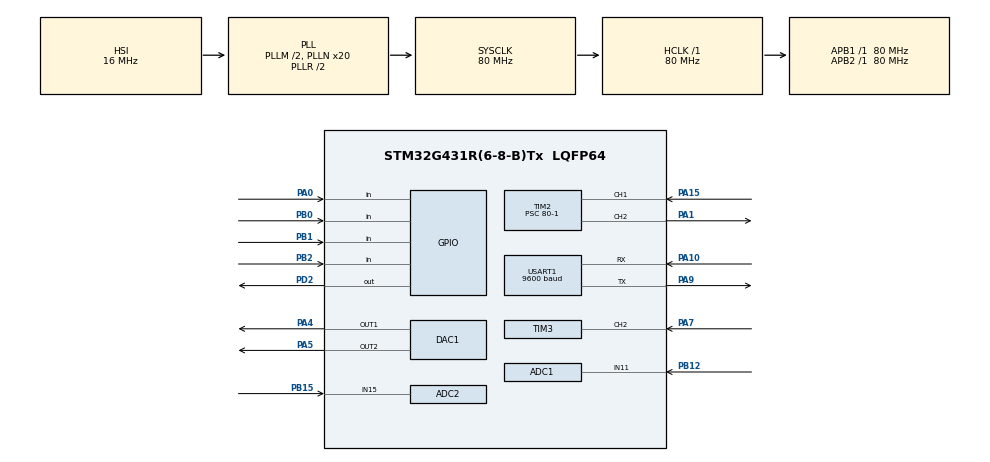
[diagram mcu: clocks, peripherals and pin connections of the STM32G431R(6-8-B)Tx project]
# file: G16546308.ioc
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ADC1.Channel-0\#ChannelRegularConversion=ADC_CHANNEL_11
ADC1.NbrOfConversionFlag=1
ADC1.OffsetNumber-0\#ChannelRegularConversion=ADC_OFFSET_NONE
ADC1.Rank-0\#ChannelRegularConversion=1
ADC1.SamplingTime-0\#ChannelRegularConversion=ADC_SAMPLETIME_2CYCLES_5
ADC1.master=1
ADC2.Channel-0\#ChannelRegularConversion=ADC_CHANNEL_15
ADC2.NbrOfConversionFlag=1
ADC2.OffsetNumber-0\#ChannelRegularConversion=ADC_OFFSET_NONE
ADC2.Rank-0\#ChannelRegularConversion=1
ADC2.SamplingTime-0\#ChannelRegularConversion=ADC_SAMPLETIME_2CYCLES_5
DAC1.DAC_Channel-DAC_OUT2=DAC_CHANNEL_2
Dma.Request0=USART1_RX
Dma.Request1=USART1_TX
Dma.USART1_RX.0.Direction=DMA_PERIPH_TO_MEMORY
Dma.USART1_RX.0.EventEnable=DISABLE
Dma.USART1_RX.0.Instance=DMA1_Channel1
Dma.USART1_RX.0.MemDataAlignment=DMA_MDATAALIGN_BYTE
Dma.USART1_RX.0.MemInc=DMA_MINC_ENABLE
Dma.USART1_RX.0.Mode=DMA_NORMAL
Dma.USART1_RX.0.PeriphDataAlignment=DMA_PDATAALIGN_BYTE
Dma.USART1_RX.0.PeriphInc=DMA_PINC_DISABLE
Dma.USART1_RX.0.Polarity=HAL_DMAMUX_REQ_GEN_RISING
Dma.USART1_RX.0.Priority=DMA_PRIORITY_LOW
Dma.USART1_RX.0.RequestNumber=1
Dma.USART1_RX.0.SignalID=NONE
Dma.USART1_RX.0.SyncEnable=DISABLE
Dma.USART1_RX.0.SyncPolarity=HAL_DMAMUX_SYNC_NO_EVENT
Dma.USART1_RX.0.SyncRequestNumber=1
Dma.USART1_RX.0.SyncSignalID=NONE
Dma.USART1_TX.1.Direction=DMA_MEMORY_TO_PERIPH
Dma.USART1_TX.1.EventEnable=DISABLE
Dma.USART1_TX.1.Instance=DMA1_Channel2
Dma.USART1_TX.1.MemDataAlignment=DMA_MDATAALIGN_BYTE
Dma.USART1_TX.1.MemInc=DMA_MINC_ENABLE
Dma.USART1_TX.1.Mode=DMA_NORMAL
Dma.USART1_TX.1.PeriphDataAlignment=DMA_PDATAALIGN_BYTE
Dma.USART1_TX.1.PeriphInc=DMA_PINC_DISABLE
Dma.USART1_TX.1.Polarity=HAL_DMAMUX_REQ_GEN_RISING
Dma.USART1_TX.1.Priority=DMA_PRIORITY_LOW
Dma.USART1_TX.1.RequestNumber=1
Dma.USART1_TX.1.SignalID=NONE
Dma.USART1_TX.1.SyncEnable=DISABLE
Dma.USART1_TX.1.SyncPolarity=HAL_DMAMUX_SYNC_NO_EVENT
Dma.USART1_TX.1.SyncRequestNumber=1
Dma.USART1_TX.1.SyncSignalID=NONE
Mcu.Family=STM32G4
Mcu.Name=STM32G431R(6-8-B)Tx
Mcu.Package=LQFP64
NVIC.DMA1_Channel1_IRQn=true\:14\:0\:true\:false\:true\:false\:true\:true
NVIC.DMA1_Channel2_IRQn=true\:14\:0\:true\:false\:true\:false\:true\:true
NVIC.PriorityGroup=NVIC_PRIORITYGROUP_4
NVIC.TIM1_UP_TIM16_IRQn=true\:13\:0\:true\:false\:true\:true\:true\:true
NVIC.TIM2_IRQn=true\:0\:0\:false\:false\:true\:true\:true\:true
NVIC.TIM3_IRQn=true\:0\:0\:false\:false\:true\:true\:true\:true
NVIC.USART1_IRQn=true\:1\:0\:true\:false\:true\:true\:true\:true
PA0.Signal=GPIO_Input
PA1.Signal=S_TIM2_CH2
PA10.Mode=Asynchronous
PA10.Signal=USART1_RX
PA13.Mode=Serial_Wire
PA13.Signal=SYS_JTMS-SWDIO
PA14.Mode=Serial_Wire
PA14.Signal=SYS_JTCK-SWCLK
PA15.Signal=S_TIM2_CH1
PA4.Signal=COMP_DAC11_group
PA5.Signal=COMP_DAC12_group
PA7.Signal=S_TIM3_CH2
PA9.Mode=Asynchronous
PA9.Signal=USART1_TX
PB0.Signal=GPIO_Input
PB1.Signal=GPIO_Input
PB12.Mode=IN11-Single-Ended
PB12.Signal=ADC1_IN11
PB15.Mode=IN15-Single-Ended
PB15.Signal=ADC2_IN15
PB2.Signal=GPIO_Input
PB4.Signal=S_TIM3_CH1
PD2.Signal=GPIO_Output
PF0-OSC_IN.Mode=HSE-External-Oscillator
PF0-OSC_IN.Signal=RCC_OSC_IN
PF1-OSC_OUT.Mode=HSE-External-Oscillator
PF1-OSC_OUT.Signal=RCC_OSC_OUT
ProjectManager.HeapSize=0x200
ProjectManager.StackSize=0x400
ProjectManager.TargetToolchain=MDK-ARM V5.32
RCC.ADC12Freq_Value=80000000
RCC.AHBFreq_Value=80000000
RCC.APB1Freq_Value=80000000
RCC.APB1TimFreq_Value=80000000
RCC.APB2Freq_Value=80000000
RCC.APB2TimFreq_Value=80000000
RCC.CortexFreq_Value=80000000
RCC.EXTERNAL_CLOCK_VALUE=12288000
RCC.HCLKFreq_Value=80000000
RCC.HSE_VALUE=24000000
RCC.HSI48_VALUE=48000000
RCC.HSI_VALUE=16000000
RCC.LSE_VALUE=32768
RCC.PLLM=RCC_PLLM_DIV2
RCC.PLLN=20
RCC.SYSCLKFreq_VALUE=80000000
RCC.SYSCLKSource=RCC_SYSCLKSOURCE_PLLCLK
RCC.USBFreq_Value=80000000
RCC.VCOOutputFreq_Value=160000000
SH.COMP_DAC11_group.0=DAC1_OUT1,DAC_OUT1
SH.COMP_DAC12_group.0=DAC1_OUT2,DAC_OUT2
SH.S_TIM2_CH1.0=TIM2_CH1,Input_Capture1_from_TI1
SH.S_TIM2_CH2.0=TIM2_CH2,PWM Generation2 CH2
SH.S_TIM3_CH1.0=TIM3_CH1
SH.S_TIM3_CH2.0=TIM3_CH2,Input_Capture2_from_TI2
SH.S_TIM3_CH2.1=TIM3_CH2,TriggerSource_TI2FP2
TIM16.AutoReloadPreload=TIM_AUTORELOAD_PRELOAD_ENABLE
TIM16.PeriodNoDither=1000-1
TIM16.Prescaler=80-1
TIM2.Channel-Input_Capture1_from_TI1=TIM_CHANNEL_1
TIM2.Channel-PWM\ Generation2\ CH2=TIM_CHANNEL_2
TIM2.PeriodNoDither=65535
TIM2.Prescaler=80-1
TIM2.PulseNoDither_2=500
TIM3.Channel-Input_Capture1_from_TI2_63=TIM_CHANNEL_1
TIM3.Channel-Input_Capture2_from_TI2=TIM_CHANNEL_2
TIM3.ICPolarity_CH1=TIM_INPUTCHANNELPOLARITY_FALLING
TIM3.Prescaler=80-1
USART1.BaudRate=9600
USART1.VirtualMode-Asynchronous=VM_ASYNC
VP_SYS_VS_DBSignals.Mode=DisableDeadBatterySignals
VP_TIM16_VS_ClockSourceINT.Mode=Enable_Timer
VP_TIM2_VS_ClockSourceINT.Mode=Internal
VP_TIM3_VS_ClockSourceINT.Mode=Internal
VP_TIM3_VS_ControllerModeReset.Mode=Reset Mode
VP_TIM3_VS_indirect_ch2.Mode=Input_Capture1_from_TI2_63
board=custom

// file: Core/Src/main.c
/* USER CODE BEGIN Header */
/**
  ******************************************************************************
  * @file           : main.c
  * @brief          : Main program body
  ******************************************************************************
  * @attention
  *
  * <h2><center>&copy; Copyright (c) 2021 STMicroelectronics.
  * All rights reserved.</center></h2>
  *
  * This software component is licensed by ST under BSD 3-Clause license,
  * the "License"; You may not use this file except in compliance with the
  * License. You may obtain a copy of the License at:
  *                        opensource.org/licenses/BSD-3-Clause
  *
  ******************************************************************************
  */
/* USER CODE END Header */
#include "main.h"
#include "adc.h"
#include "dac.h"
#include "dma.h"
#include "tim.h"
#include "usart.h"
#include "gpio.h"

/* USER CODE BEGIN Includes */
#include "stdio.h"
#include "i2c_hal.h"
#include "string.h"
/* USER CODE END Includes */

/* USER CODE BEGIN PM */
extern DMA_HandleTypeDef hdma_usart1_rx;
/* USER CODE END PM */

/* USER CODE BEGIN PV */
uint8_t key_value = 0;
double adc1_value = 0,adc2_value = 0;
double fp7 = 0;
/* USER CODE END PV */

void SystemClock_Config(void);

/* USER CODE BEGIN 0 */
////
int fputc(int ch,FILE *p){
	HAL_UART_Transmit(&huart1,(u8 *)&ch,1,HAL_MAX_DELAY);
	return ch;
}

uint8_t Key_Scan(){
	static struct{
		uint8_t state;
		uint32_t timestamp;
		uint8_t click_count;
		uint32_t last_release_time;
	}key_status[4] = {0};

	if(HAL_GPIO_ReadPin(GPIOB,GPIO_PIN_0) == 0){//普通消抖
		if(key_status[0].state == 0){
			key_status[0].state = 1;
			key_status[0].timestamp = uwTick;
		}
		else if(key_status[0].state == 1&&(uwTick - key_status[0].timestamp) > 100){
			key_status[0].state = 2;
		}
	}
	else if(key_status[0].state == 2){
		key_status[0].state = 0;
		return 1;
	}

	if(HAL_GPIO_ReadPin(GPIOB,GPIO_PIN_1) == 0){//长按
		if(key_status[1].state == 0){
			key_status[1].state = 1;
			key_status[1].timestamp = uwTick;
		}
		else if(key_status[1].state == 1){
			if((uwTick - key_status[1].timestamp) > 100){
				key_status[1].state = 2;
				key_status[1].timestamp = uwTick;
			}
		}
		else if(key_status[1].state == 2){
			if((uwTick - key_status[1].timestamp) > 1000){
				key_status[1].state = 3;
				return 5;
			}
		}
	}
	else if(key_status[1].state >= 2){
		if(key_status[1].state == 2){
			key_status[1].state = 0;
			return 2;
		}
		key_status[1].state = 0;
	}

  if(HAL_GPIO_ReadPin(GPIOB, GPIO_PIN_2) == 0) {  // 按键3被按下
    if(key_status[2].state == 0) {
        key_status[2].state = 1;
        key_status[2].timestamp = uwTick;
    }
    else if(key_status[2].state == 1 && (uwTick - key_status[2].timestamp) > 1000) {
        key_status[2].state = 2;
    }
	}
	else if(key_status[2].state == 2) {  // 按键3被释放
			key_status[2].state = 0;
			return 3;  // 返回按键3的值（单击）
	}
	else if(key_status[2].state == 1) {  // 按键3被按下但未释放
    key_status[2].state = 0;
    key_status[2].click_count++;
    key_status[2].last_release_time = uwTick;

    if(key_status[2].click_count == 2 && (uwTick - key_status[2].last_release_time) < 200) {  // 双击检测时间间隔调整为200毫秒
        key_status[2].click_count = 0;
        return 6;  // 返回6表示双击
    }
    else if(key_status[2].click_count == 1&& (uwTick - key_status[2].last_release_time) > 1000) {
       // 单击检测时间间隔调整为200毫秒
        key_status[2].click_count = 0;
        key_status[2].state = 0;
        return 3;  // 返回3表示单击
    }
	}

	return 0;
}

double Adc1_Get(){//R38
	double adc = 0;
	HAL_ADC_Start(&hadc1);

	adc = HAL_ADC_GetValue(&hadc1);

	return adc;
}
double Adc2_Get(){//R37
	double adc = 0;
	HAL_ADC_Start(&hadc2);

	adc = HAL_ADC_GetValue(&hadc2);

	return adc;
}

void Led_Control(int ledNum,int ledState){
	static int status = 0xFF;

	if(ledNum > 8 || ledNum < 1) return;

	if(ledState == 0){
		status |= 0x01<<(ledNum - 1);
	}
	else if(ledState == 1){
		status &= ~(0x01<<(ledNum-1));
	}

	GPIOC->ODR = status<<8;
	HAL_GPIO_WritePin(GPIOD,GPIO_PIN_2,1);
	HAL_GPIO_WritePin(GPIOD,GPIO_PIN_2,0);
}

void PwmPro(){
	HAL_TIM_PWM_Start_IT(&htim2,TIM_CHANNEL_2);

	TIM2->ARR = 5000-1;//将tim2频率改为1000000/5000=200Hz
	HAL_TIM_Base_Init(&htim2);
	TIM2->CCR2 = 2500;//等于__HAL_TIM_SetCompare(&htim2,TIM_CHANNEL_2,200),将tim2通道2设为占空比为TIM2->CCR2/TIM2->ARR=40%
	HAL_TIM_PWM_Stop_IT(&htim2,TIM_CHANNEL_2);
	__HAL_TIM_SET_AUTORELOAD(&htim2,500);
	__HAL_TIM_SetCompare(&htim2,TIM_CHANNEL_2,200);
}

uint16_t cap_up_count = 0,cap_down_count = 0;
float cap_duty = 0;
void HAL_TIM_IC_CaptureCallback(TIM_HandleTypeDef *htim){
	if(htim->Channel == HAL_TIM_ACTIVE_CHANNEL_2){
		cap_up_count = HAL_TIM_ReadCapturedValue(&htim3,TIM_CHANNEL_2)+1;
		cap_duty = (float)cap_down_count/cap_up_count;
	}
	if(htim->Channel == HAL_TIM_ACTIVE_CHANNEL_1){
		cap_down_count = HAL_TIM_ReadCapturedValue(&htim3,TIM_CHANNEL_1)+1;
	}
}

uint8_t uart_rx_buf[64] = {0};
void HAL_UART_RxCpltCallback(UART_HandleTypeDef *huart){
	if(uart_rx_buf[0] == 'a'){
		x24c02_write(0,0);
		HAL_Delay(5);
		printf("%d\r\n",x24c02_read(0));
	}
	HAL_UART_Receive_IT(&huart1,uart_rx_buf,1);
}

uint8_t uart_rx_dma_buf[64];
void HAL_UARTEx_RxEventCallback(UART_HandleTypeDef *huart, uint16_t Size){
	if(huart == &huart1){
		if(uart_rx_dma_buf[0] == '1'&&uart_rx_dma_buf[1] == '2'&&uart_rx_dma_buf[4] == '5')
			printf("ok!");
		else
			printf("error!");
				memset(uart_rx_dma_buf,0,sizeof(uart_rx_dma_buf));
	}
	HAL_UARTEx_ReceiveToIdle_DMA(&huart1,uart_rx_dma_buf,sizeof(uart_rx_dma_buf));
	__HAL_DMA_DISABLE_IT(&hdma_usart1_rx,DMA_IT_HT);
}

void HAL_TIM_PeriodElapsedCallback(TIM_HandleTypeDef *htim){
	static int time_ms = 0;
	if(htim == &htim16){
		time_ms++;
		if(time_ms == 1000){
			printf("%d\r\n",time_ms);
			time_ms = 0;
		}
	}
}

uint8_t x24c02_read(uint8_t address){
	unsigned char val;

	I2CStart();
	I2CSendByte(0xa0);
	I2CWaitAck();

	I2CSendByte(address);
	I2CWaitAck();
	I2CStop();

	I2CStart();
	I2CSendByte(0xa1);
	I2CWaitAck();
	val = I2CReceiveByte();
	I2CSendNotAck();
	I2CStop();

	return val;
}

void x24c02_write(unsigned char address,unsigned char info){
	I2CStart();
	I2CSendByte(0xa0);
	I2CWaitAck();

	I2CSendByte(address);
	I2CWaitAck();
	I2CSendByte(info);
	I2CWaitAck();
	I2CStop();
}
//
void DAC1_OUT1_Set_Vol(float vol) //设置PA4的输出电压
{
	uint16_t temp;
	temp = (4096*vol/3.3f);
	HAL_DAC_SetValue(&hdac1, DAC_CHANNEL_1,DAC_ALIGN_12B_R,temp);
	HAL_DAC_Start(&hdac1, DAC_CHANNEL_1);//启动DAC1 通道1输出
}
//
void DAC1_OUT2_Set_Vol(float vol) //设置PA5的输出电压
{
	uint16_t temp;
	temp = (4096*vol/3.3f);
	HAL_DAC_SetValue(&hdac1, DAC_CHANNEL_2,DAC_ALIGN_12B_R,temp);
	HAL_DAC_Start(&hdac1, DAC_CHANNEL_2);//启动DAC1 通道2输出
}
//
uint32_t  f39 = 0, f40 = 0;
void HAL_TIM_IC_CaptureCallback(TIM_HandleTypeDef *htim)
{
	uint32_t  cc1_value = 0;
	cc1_value = __HAL_TIM_GET_COUNTER(htim);
	__HAL_TIM_SetCounter(htim,0);

	if(htim == &htim2) //定时器2，对应的是PA15引脚，R40
	{
		f40 = 1000000/cc1_value;
	}

	if(htim == &htim3) //定时器3，对应的是PB4引脚，R39
	{
		f39 = 1000000/cc1_value;
	}
}

//
/* USER CODE END 0 */

int main(void)
{

  /* MCU Configuration--------------------------------------------------------*/

  /* Reset of all peripherals, Initializes the Flash interface and the Systick. */
  HAL_Init();

  /* Configure the system clock */
  SystemClock_Config();

  /* Initialize all configured peripherals */
  MX_GPIO_Init();
  MX_DMA_Init();
  MX_USART1_UART_Init();
  MX_ADC1_Init();
  MX_ADC2_Init();
  MX_TIM2_Init();
  MX_TIM3_Init();
  MX_TIM16_Init();
  MX_DAC1_Init();
  /* USER CODE BEGIN 2 */
  LCD_Init();
	I2CInit();
	HAL_GPIO_WritePin(GPIOC,GPIO_PIN_All,1);
	HAL_GPIO_WritePin(GPIOD,GPIO_PIN_2,1);
	HAL_GPIO_WritePin(GPIOD,GPIO_PIN_2,0);

	HAL_TIM_Base_Start(&htim3);
	HAL_TIM_IC_Start_IT(&htim3, TIM_CHANNEL_1);
	HAL_TIM_IC_Start_IT(&htim3, TIM_CHANNEL_2);

	HAL_TIM_PWM_Start(&htim2,TIM_CHANNEL_2);
	HAL_UART_Receive_IT(&huart1,uart_rx_buf,1);
	HAL_UARTEx_ReceiveToIdle_DMA(&huart1,uart_rx_dma_buf,sizeof(uart_rx_dma_buf));
	__HAL_DMA_DISABLE_IT(&hdma_usart1_rx,DMA_IT_HT);
	HAL_TIM_Base_Start_IT(&htim16);

	DAC1_OUT1_Set_Vol(2.3);
	DAC1_OUT2_Set_Vol(1.5);

	HAL_TIM_IC_Start_IT(&htim2, TIM_CHANNEL_1);
  /* USER CODE END 2 */

  /* Infinite loop */
  /* USER CODE BEGIN WHILE */
    LCD_SetBackColor(Black);
    LCD_SetTextColor(White);
		LCD_Clear(Black);
    while (1)
    {
			printf("%d\r\n",f40);
    /* USER CODE END WHILE */

    }
}

void SystemClock_Config(void)
{
  RCC_OscInitTypeDef RCC_OscInitStruct = {0};
  RCC_ClkInitTypeDef RCC_ClkInitStruct = {0};

  /** Configure the main internal regulator output voltage
  */
  HAL_PWREx_ControlVoltageScaling(PWR_REGULATOR_VOLTAGE_SCALE1);

  /** Initializes the RCC Oscillators according to the specified parameters
  * in the RCC_OscInitTypeDef structure.
  */
  RCC_OscInitStruct.OscillatorType = RCC_OSCILLATORTYPE_HSI;
  RCC_OscInitStruct.HSIState = RCC_HSI_ON;
  RCC_OscInitStruct.HSICalibrationValue = RCC_HSICALIBRATION_DEFAULT;
  RCC_OscInitStruct.PLL.PLLState = RCC_PLL_ON;
  RCC_OscInitStruct.PLL.PLLSource = RCC_PLLSOURCE_HSI;
  RCC_OscInitStruct.PLL.PLLM = RCC_PLLM_DIV2;
  RCC_OscInitStruct.PLL.PLLN = 20;
  RCC_OscInitStruct.PLL.PLLP = RCC_PLLP_DIV2;
  RCC_OscInitStruct.PLL.PLLQ = RCC_PLLQ_DIV2;
  RCC_OscInitStruct.PLL.PLLR = RCC_PLLR_DIV2;
  if (HAL_RCC_OscConfig(&RCC_OscInitStruct) != HAL_OK)
  {
    Error_Handler();
  }

  /** Initializes the CPU, AHB and APB buses clocks
  */
  RCC_ClkInitStruct.ClockType = RCC_CLOCKTYPE_HCLK|RCC_CLOCKTYPE_SYSCLK
                              |RCC_CLOCKTYPE_PCLK1|RCC_CLOCKTYPE_PCLK2;
  RCC_ClkInitStruct.SYSCLKSource = RCC_SYSCLKSOURCE_PLLCLK;
  RCC_ClkInitStruct.AHBCLKDivider = RCC_SYSCLK_DIV1;
  RCC_ClkInitStruct.APB1CLKDivider = RCC_HCLK_DIV1;
  RCC_ClkInitStruct.APB2CLKDivider = RCC_HCLK_DIV1;

  if (HAL_RCC_ClockConfig(&RCC_ClkInitStruct, FLASH_LATENCY_2) != HAL_OK)
  {
    Error_Handler();
  }
}

void Error_Handler(void)
{
}
